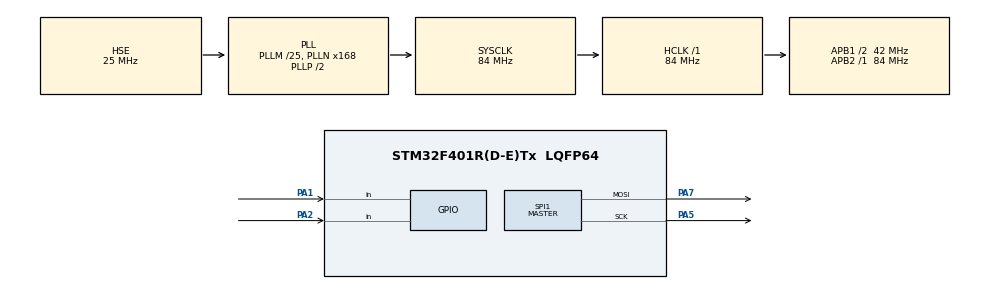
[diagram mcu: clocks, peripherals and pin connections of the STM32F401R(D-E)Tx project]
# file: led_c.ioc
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Mcu.Family=STM32F4
Mcu.Name=STM32F401R(D-E)Tx
Mcu.Package=LQFP64
NVIC.PriorityGroup=NVIC_PRIORITYGROUP_4
PA1.Signal=GPIO_Input
PA13.Mode=Serial_Wire
PA13.Signal=SYS_JTMS-SWDIO
PA14.Mode=Serial_Wire
PA14.Signal=SYS_JTCK-SWCLK
PA2.Signal=GPIO_Input
PA5.Mode=TX_Only_Simplex_Unidirect_Master
PA5.Signal=SPI1_SCK
PA7.Mode=TX_Only_Simplex_Unidirect_Master
PA7.Signal=SPI1_MOSI
PH0\ -\ OSC_IN.Mode=HSE-External-Oscillator
PH0\ -\ OSC_IN.Signal=RCC_OSC_IN
PH1\ -\ OSC_OUT.Mode=HSE-External-Oscillator
PH1\ -\ OSC_OUT.Signal=RCC_OSC_OUT
ProjectManager.HeapSize=0x200
ProjectManager.StackSize=0x400
ProjectManager.TargetToolchain=STM32CubeIDE
RCC.48MHZClocksFreq_Value=42000000
RCC.AHBFreq_Value=84000000
RCC.APB1CLKDivider=RCC_HCLK_DIV2
RCC.APB1Freq_Value=42000000
RCC.APB1TimFreq_Value=84000000
RCC.APB2Freq_Value=84000000
RCC.APB2TimFreq_Value=84000000
RCC.CortexFreq_Value=84000000
RCC.HCLKFreq_Value=84000000
RCC.HSE_VALUE=25000000
RCC.HSI_VALUE=16000000
RCC.LSE_VALUE=32768
RCC.PLLM=25
RCC.PLLN=168
RCC.PLLSourceVirtual=RCC_PLLSOURCE_HSE
RCC.SYSCLKFreq_VALUE=84000000
RCC.SYSCLKSource=RCC_SYSCLKSOURCE_PLLCLK
RCC.VCOOutputFreq_Value=168000000
SPI1.BaudRatePrescaler=SPI_BAUDRATEPRESCALER_32
SPI1.CLKPolarity=SPI_POLARITY_HIGH
SPI1.Direction=SPI_DIRECTION_2LINES
SPI1.Mode=SPI_MODE_MASTER
SPI1.VirtualType=VM_MASTER
board=custom

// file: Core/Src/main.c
/* USER CODE BEGIN Header */
/* USER CODE END Header */
#include "main.h"

/* USER CODE BEGIN Includes */
#include "led_func.h"
#define LED_COUNT 16
#define LUX 100
/* USER CODE END Includes */

SPI_HandleTypeDef hspi1;

void SystemClock_Config(void);
static void MX_GPIO_Init(void);
static void MX_SPI1_Init(void);

int main(void)
{

  /* USER CODE BEGIN 1 */
	uint8_t buffer[LED_COUNT][3]={0};
  /* USER CODE END 1 */

  /* MCU Configuration--------------------------------------------------------*/

  /* Reset of all peripherals, Initializes the Flash interface and the Systick. */
  HAL_Init();

  /* Configure the system clock */
  SystemClock_Config();

  /* Initialize all configured peripherals */
  MX_GPIO_Init();
  MX_SPI1_Init();

  /* Infinite loop */
  /* USER CODE BEGIN WHILE */
  sendData(hspi1,buffer, LED_COUNT);
  while(1){
	  if(HAL_GPIO_ReadPin(GPIOA, GPIO_PIN_1)){
		  switch(rand()%5){
			case 0:{
				iterationRunRandomColor(hspi1,buffer,LED_COUNT,LUX,0);
				break;
			}
			case 1:{
				starfall(hspi1, buffer, LED_COUNT, LUX, 0);
				break;
			}
			case 2:{
				focusLens(hspi1, buffer, LED_COUNT, LUX, 5, 0);
				break;
			}
			case 3:{
				smoothAccumulation(hspi1, buffer, LED_COUNT, LUX, 0);
				break;
			}
			case 4:{
				scannerKnightRider(hspi1, buffer, LED_COUNT, LUX, 5,5,0);
				break;
			}
		  }
	  }
	  if(HAL_GPIO_ReadPin(GPIOA, GPIO_PIN_2)){
	  //invers func
		  switch(rand()%5){
			case 0:{
				iterationRunRandomColor(hspi1,buffer,LED_COUNT,LUX,1);
				break;
			}
			case 1:{
				starfall(hspi1, buffer, LED_COUNT, LUX, 1);
				break;
			}
			case 2:{
				focusLens(hspi1, buffer, LED_COUNT, LUX, 5, 1);
				break;
			}
			case 3:{
				smoothAccumulation(hspi1, buffer, LED_COUNT, LUX, 1);
				break;
			}
			case 4:{
				scannerKnightRider(hspi1, buffer, LED_COUNT, LUX, 5,5,1);
				break;
			}

		}
	  }

    /* USER CODE END WHILE */

  }
}

void SystemClock_Config(void)
{
  RCC_OscInitTypeDef RCC_OscInitStruct = {0};
  RCC_ClkInitTypeDef RCC_ClkInitStruct = {0};

  /** Configure the main internal regulator output voltage
  */
  __HAL_RCC_PWR_CLK_ENABLE();
  __HAL_PWR_VOLTAGESCALING_CONFIG(PWR_REGULATOR_VOLTAGE_SCALE2);

  /** Initializes the RCC Oscillators according to the specified parameters
  * in the RCC_OscInitTypeDef structure.
  */
  RCC_OscInitStruct.OscillatorType = RCC_OSCILLATORTYPE_HSE;
  RCC_OscInitStruct.HSEState = RCC_HSE_ON;
  RCC_OscInitStruct.PLL.PLLState = RCC_PLL_ON;
  RCC_OscInitStruct.PLL.PLLSource = RCC_PLLSOURCE_HSE;
  RCC_OscInitStruct.PLL.PLLM = 25;
  RCC_OscInitStruct.PLL.PLLN = 168;
  RCC_OscInitStruct.PLL.PLLP = RCC_PLLP_DIV2;
  RCC_OscInitStruct.PLL.PLLQ = 4;
  if (HAL_RCC_OscConfig(&RCC_OscInitStruct) != HAL_OK)
  {
    Error_Handler();
  }

  /** Initializes the CPU, AHB and APB buses clocks
  */
  RCC_ClkInitStruct.ClockType = RCC_CLOCKTYPE_HCLK|RCC_CLOCKTYPE_SYSCLK
                              |RCC_CLOCKTYPE_PCLK1|RCC_CLOCKTYPE_PCLK2;
  RCC_ClkInitStruct.SYSCLKSource = RCC_SYSCLKSOURCE_PLLCLK;
  RCC_ClkInitStruct.AHBCLKDivider = RCC_SYSCLK_DIV1;
  RCC_ClkInitStruct.APB1CLKDivider = RCC_HCLK_DIV2;
  RCC_ClkInitStruct.APB2CLKDivider = RCC_HCLK_DIV1;

  if (HAL_RCC_ClockConfig(&RCC_ClkInitStruct, FLASH_LATENCY_2) != HAL_OK)
  {
    Error_Handler();
  }
}

static void MX_SPI1_Init(void)
{

  /* SPI1 parameter configuration*/
  hspi1.Instance = SPI1;
  hspi1.Init.Mode = SPI_MODE_MASTER;
  hspi1.Init.Direction = SPI_DIRECTION_2LINES;
  hspi1.Init.DataSize = SPI_DATASIZE_8BIT;
  hspi1.Init.CLKPolarity = SPI_POLARITY_HIGH;
  hspi1.Init.CLKPhase = SPI_PHASE_1EDGE;
  hspi1.Init.NSS = SPI_NSS_SOFT;
  hspi1.Init.BaudRatePrescaler = SPI_BAUDRATEPRESCALER_32;
  hspi1.Init.FirstBit = SPI_FIRSTBIT_MSB;
  hspi1.Init.TIMode = SPI_TIMODE_DISABLE;
  hspi1.Init.CRCCalculation = SPI_CRCCALCULATION_DISABLE;
  hspi1.Init.CRCPolynomial = 10;
  if (HAL_SPI_Init(&hspi1) != HAL_OK)
  {
    Error_Handler();
  }

}

static void MX_GPIO_Init(void)
{
  GPIO_InitTypeDef GPIO_InitStruct = {0};

  /* GPIO Ports Clock Enable */
  __HAL_RCC_GPIOH_CLK_ENABLE();
  __HAL_RCC_GPIOA_CLK_ENABLE();

  /*Configure GPIO pins : PA1 PA2 */
  GPIO_InitStruct.Pin = GPIO_PIN_1|GPIO_PIN_2;
  GPIO_InitStruct.Mode = GPIO_MODE_INPUT;
  GPIO_InitStruct.Pull = GPIO_NOPULL;
  HAL_GPIO_Init(GPIOA, &GPIO_InitStruct);

}

void Error_Handler(void)
{
}
